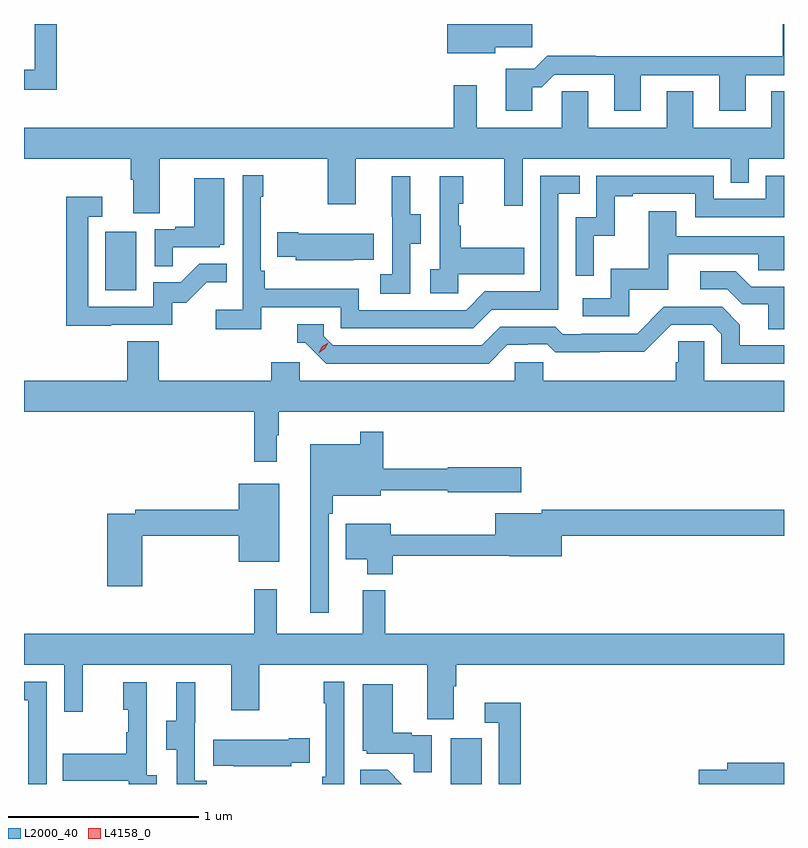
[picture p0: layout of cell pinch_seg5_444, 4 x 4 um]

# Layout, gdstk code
import gdstk
lib = gdstk.Library(unit=1e-6, precision=1e-09)
def R(c, l, rs):  # rectangles x0, y0, x1, y1
    for r in rs: c.add(gdstk.rectangle(r[:2], r[2:], *l))
def P(c, l, *ps):  # polygons
    for p in ps: c.add(gdstk.Polygon(p, *l))
L2000_40 = (2000, 40)
L4158_0 = (4158, 0)

pinch_seg5_444 = lib.new_cell('pinch_seg5_444')
R(pinch_seg5_444, L2000_40, [(939.032,866.789,939.196,867.031), (937.214,869.388,937.378,869.695)])
P(pinch_seg5_444, L2000_40, [(936.959,870.789),(936.843,870.789),(936.843,870.549),(936.787,870.549),(936.787,870.444),(936.959,870.444)],
  [(939.268,870.667),(939.463,870.667),(939.463,870.789),(939.014,870.789),(939.014,870.635),(939.268,870.635)],
  [(939.463,870.455),(939.512,870.455),(939.579,870.522),(939.893,870.522),(939.893,870.333),(940.033,870.333),(940.033,870.519),(940.445,870.519),(940.445,870.333),(940.585,870.333),(940.585,870.519),(940.787,870.519),(940.787,870.789),(940.781,870.789),(940.781,870.62),(939.797,870.62),(939.797,870.623),(939.542,870.623),(939.472,870.553),(939.323,870.553),(939.323,870.333),(939.463,870.333)],
  [(937.501,870.08),(938.386,870.08),(938.386,869.841),(938.533,869.841),(938.533,870.08),(939.314,870.08),(939.314,869.832),(939.411,869.832),(939.411,870.08),(940.506,870.08),(940.506,869.953),(940.602,869.953),(940.602,870.08),(940.787,870.08),(940.787,870.434),(940.721,870.434),(940.721,870.244),(940.309,870.244),(940.309,870.434),(940.169,870.434),(940.169,870.244),(939.757,870.244),(939.757,870.434),(939.618,870.434),(939.618,870.244),(939.169,870.244),(939.169,870.466),(939.048,870.466),(939.048,870.244),(936.787,870.244),(936.787,870.08),(937.349,870.08),(937.349,869.968),(937.361,869.968),(937.361,869.794),(937.501,869.794)],
  [(938.036,869.298),(938.454,869.298),(938.454,869.187),(939.151,869.187),(939.25,869.286),(939.6,869.286),(939.6,869.895),(939.713,869.895),(939.713,869.991),(939.504,869.991),(939.504,869.382),(939.213,869.382),(939.114,869.283),(938.55,869.283),(938.55,869.395),(938.054,869.395),(938.054,869.491),(938.034,869.491),(938.034,869.879),(938.047,869.879),(938.047,869.992),(937.938,869.992),(937.938,869.284),(937.797,869.284),(937.797,869.182),(938.036,869.182)],
  [(939.786,869.675),(939.896,869.675),(939.896,869.883),(939.991,869.883),(939.991,869.895),(940.32,869.895),(940.32,869.772),(940.787,869.772),(940.787,869.991),(940.692,869.991),(940.692,869.868),(940.416,869.868),(940.416,869.991),(939.798,869.991),(939.798,869.772),(939.69,869.772),(939.69,869.463),(939.786,869.463)],
  [(938.82,869.632),(938.875,869.632),(938.875,869.787),(938.821,869.787),(938.821,869.989),(938.723,869.989),(938.723,869.775),(938.724,869.775),(938.724,869.471),(938.661,869.471),(938.661,869.368),(938.82,869.368)],
  [(939.072,869.471),(939.419,869.471),(939.419,869.611),(939.085,869.611),(939.085,869.726),(939.075,869.726),(939.075,869.844),(939.1,869.844),(939.1,869.989),(938.976,869.989),(938.976,869.498),(938.925,869.498),(938.925,869.373),(939.072,869.373)],
  [(937.571,869.613),(937.818,869.613),(937.818,869.628),(937.84,869.628),(937.84,869.977),(937.682,869.977),(937.682,869.722),(937.583,869.722),(937.583,869.709),(937.476,869.709),(937.476,869.515),(937.571,869.515)],
  [(937.247,869.205),(937.566,869.205),(937.566,869.322),(937.642,869.322),(937.749,869.429),(937.853,869.429),(937.853,869.528),(937.709,869.528),(937.611,869.43),(937.467,869.43),(937.467,869.301),(937.125,869.301),(937.125,869.775),(937.198,869.775),(937.198,869.881),(937.009,869.881),(937.009,869.2),(937.247,869.2)],
  [(939.972,869.391),(940.177,869.391),(940.177,869.577),(940.651,869.577),(940.651,869.493),(940.787,869.493),(940.787,869.673),(940.219,869.673),(940.219,869.803),(940.075,869.803),(940.075,869.5),(939.876,869.5),(939.876,869.346),(939.729,869.346),(939.729,869.25),(939.972,869.25)],
  [(938.519,869.549),(938.627,869.549),(938.627,869.686),(938.23,869.686),(938.23,869.694),(938.119,869.694),(938.119,869.564),(938.217,869.564),(938.217,869.546),(938.519,869.546)],
  [(940.787,869.406),(940.615,869.406),(940.534,869.487),(940.347,869.487),(940.347,869.394),(940.488,869.394),(940.568,869.314),(940.703,869.314),(940.703,869.182),(940.787,869.182)],
  [(939.331,869.1),(939.438,869.1),(939.438,869.103),(939.541,869.103),(939.583,869.061),(939.816,869.061),(939.816,869.063),(940.052,869.063),(940.194,869.205),(940.41,869.205),(940.458,869.157),(940.458,869.001),(940.787,869.001),(940.787,869.097),(940.555,869.097),(940.555,869.207),(940.461,869.301),(940.155,869.301),(940.014,869.16),(939.721,869.16),(939.721,869.157),(939.622,869.157),(939.583,869.196),(939.294,869.196),(939.195,869.097),(938.412,869.097),(938.364,869.145),(938.364,869.208),(938.225,869.208),(938.225,869.112),(938.268,869.112),(938.379,869.001),(939.232,869.001)],
  [(938.116,868.625),(938.128,868.625),(938.128,868.748),(940.787,868.748),(940.787,868.912),(940.368,868.912),(940.368,869.12),(940.231,869.12),(940.231,869.01),(940.217,869.01),(940.217,868.912),(939.519,868.912),(939.519,869.01),(939.369,869.01),(939.369,868.912),(938.238,868.912),(938.238,869.01),(938.087,869.01),(938.087,868.912),(937.496,868.912),(937.496,869.12),(937.331,869.12),(937.331,868.912),(936.787,868.912),(936.787,868.748),(937.999,868.748),(937.999,868.485),(938.116,868.485)],
  [(938.391,868.211),(938.411,868.211),(938.411,868.307),(938.665,868.307),(938.665,868.336),(939.018,868.336),(939.018,868.325),(939.403,868.325),(939.403,868.455),(939.018,868.455),(939.018,868.447),(938.677,868.447),(938.677,868.642),(938.556,868.642),(938.556,868.576),(938.294,868.576),(938.294,867.69),(938.391,867.69)],
  [(937.409,868.096),(937.916,868.096),(937.916,867.959),(938.131,867.959),(938.131,868.369),(937.916,868.369),(937.916,868.232),(937.372,868.232),(937.372,868.212),(937.226,868.212),(937.226,867.831),(937.409,867.831)],
  [(938.729,867.99),(939.34,867.99),(939.34,867.989),(939.616,867.989),(939.616,868.096),(940.787,868.096),(940.787,868.232),(939.512,868.232),(939.512,868.213),(939.266,868.213),(939.266,868.101),(938.716,868.101),(938.716,868.159),(938.48,868.159),(938.48,867.971),(938.594,867.971),(938.594,867.893),(938.729,867.893)],
  [(936.787,867.416),(936.999,867.416),(936.999,867.168),(937.097,867.168),(937.097,867.416),(937.877,867.416),(937.877,867.177),(938.025,867.177),(938.025,867.416),(938.909,867.416),(938.909,867.13),(939.049,867.13),(939.049,867.304),(939.062,867.304),(939.062,867.416),(940.787,867.416),(940.787,867.58),(938.687,867.58),(938.687,867.808),(938.57,867.808),(938.57,867.58),(938.117,867.58),(938.117,867.814),(937.999,867.814),(937.999,867.58),(936.787,867.58)],
  [(938.472,867.328),(938.364,867.328),(938.364,867.215),(938.376,867.215),(938.376,866.827),(938.356,866.827),(938.356,866.789),(938.472,866.789)],
  [(936.906,867.327),(936.787,867.327),(936.787,867.231),(936.81,867.231),(936.81,866.789),(936.906,866.789)],
  [(937.75,866.807),(937.686,866.807),(937.686,867.111),(937.688,867.111),(937.688,867.325),(937.589,867.325),(937.589,867.123),(937.535,867.123),(937.535,866.968),(937.59,866.968),(937.59,866.789),(937.75,866.789)],
  [(937.486,866.834),(937.434,866.834),(937.434,867.325),(937.31,867.325),(937.31,867.18),(937.336,867.18),(937.336,867.062),(937.326,867.062),(937.326,866.947),(936.991,866.947),(936.991,866.807),(937.338,866.807),(937.338,866.789),(937.486,866.789)],
  [(938.934,867.045),(938.828,867.045),(938.828,867.058),(938.728,867.058),(938.728,867.313),(938.57,867.313),(938.57,866.964),(938.592,866.964),(938.592,866.949),(938.839,866.949),(938.839,866.851),(938.934,866.851)],
  [(939.401,867.217),(939.213,867.217),(939.213,867.111),(939.285,867.111),(939.285,866.789),(939.401,866.789)],
  [(938.193,866.9),(938.291,866.9),(938.291,867.03),(938.18,867.03),(938.18,867.022),(937.783,867.022),(937.783,866.885),(937.891,866.885),(937.891,866.882),(938.193,866.882)],
  [(940.787,866.9),(940.487,866.9),(940.487,866.864),(940.338,866.864),(940.338,866.789),(940.787,866.789)],
  [(938.701,866.864),(938.557,866.864),(938.557,866.789),(938.776,866.789)])
P(pinch_seg5_444, L4158_0, [(938.339,869.06),(938.339,869.06),(938.356,869.093),(938.387,869.112),(938.388,869.112),(938.388,869.112),(938.371,869.079),(938.34,869.06)])

lib.write_gds('pinch_seg5_444.gds')
